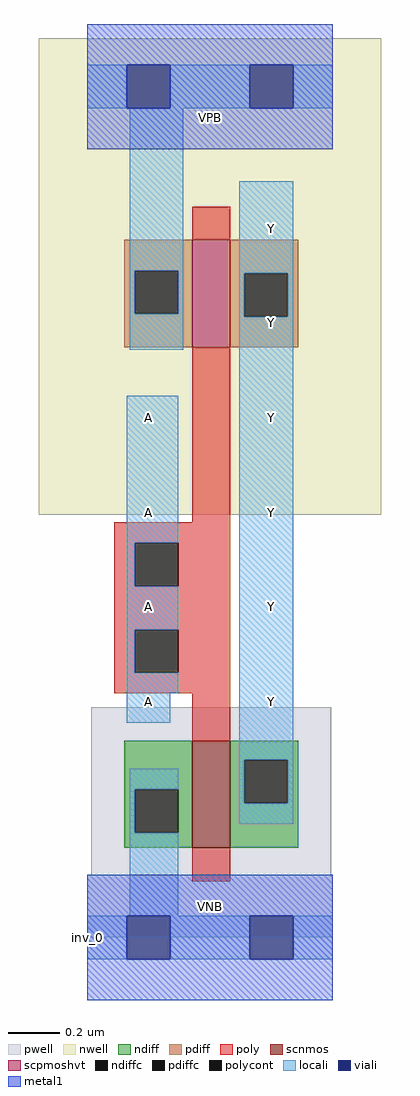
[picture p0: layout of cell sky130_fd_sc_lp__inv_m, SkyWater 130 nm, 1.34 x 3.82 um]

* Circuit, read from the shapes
.subckt sky130_fd_sc_lp__inv_m A VGND VNB VPB VPWR Y
XM1 Y A VGND VNB sky130_fd_pr__nfet_01v8 w=0.42 l=0.15
XM2 Y A VPWR VPB sky130_fd_pr__pfet_01v8_hvt w=0.42 l=0.15
.ends

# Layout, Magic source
magic
tech sky130A
magscale 1 2
<< nwell >>
rect -38 331 230 704
<< pwell >>
rect 3 49 191 180
rect 0 0 192 49
<< scnmos >>
rect 82 70 112 154
<< scpmoshvt >>
rect 82 462 112 546
<< ndiff >>
rect 29 116 82 154
rect 29 82 37 116
rect 71 82 82 116
rect 29 70 82 82
rect 112 139 165 154
rect 112 105 123 139
rect 157 105 165 139
rect 112 70 165 105
<< pdiff >>
rect 29 522 82 546
rect 29 488 37 522
rect 71 488 82 522
rect 29 462 82 488
rect 112 520 165 546
rect 112 486 123 520
rect 157 486 165 520
rect 112 462 165 486
<< ndiffc >>
rect 37 82 71 116
rect 123 105 157 139
<< pdiffc >>
rect 37 488 71 522
rect 123 486 157 520
<< poly >>
rect 82 546 112 572
rect 82 325 112 462
rect 21 309 112 325
rect 21 275 37 309
rect 71 275 112 309
rect 21 241 112 275
rect 21 207 37 241
rect 71 207 112 241
rect 21 191 112 207
rect 82 154 112 191
rect 82 44 112 70
<< polycont >>
rect 37 275 71 309
rect 37 207 71 241
<< locali >>
rect 0 649 31 683
rect 65 649 127 683
rect 161 649 192 683
rect 33 522 75 649
rect 33 488 37 522
rect 71 488 75 522
rect 33 460 75 488
rect 119 520 161 592
rect 119 486 123 520
rect 157 486 161 520
rect 31 309 71 424
rect 31 275 37 309
rect 31 241 71 275
rect 31 207 37 241
rect 31 191 71 207
rect 31 168 65 191
rect 119 139 161 486
rect 33 116 71 132
rect 33 82 37 116
rect 119 105 123 139
rect 157 105 161 139
rect 119 89 161 105
rect 33 17 71 82
rect 0 -17 31 17
rect 65 -17 127 17
rect 161 -17 192 17
<< viali >>
rect 31 649 65 683
rect 127 649 161 683
rect 31 -17 65 17
rect 127 -17 161 17
<< metal1 >>
rect 0 683 192 715
rect 0 649 31 683
rect 65 649 127 683
rect 161 649 192 683
rect 0 617 192 649
rect 0 17 192 49
rect 0 -17 31 17
rect 65 -17 127 17
rect 161 -17 192 17
rect 0 -49 192 -17
<< labels >>
flabel pwell s 0 0 192 49 0 FreeSans 200 0 0 0 VNB
port 3 nsew ground bidirectional
flabel nwell s 0 617 192 666 0 FreeSans 200 0 0 0 VPB
port 4 nsew power bidirectional
rlabel comment s 0 0 0 0 4 inv_0
flabel metal1 s 0 617 192 666 0 FreeSans 340 0 0 0 VPWR
port 5 nsew power bidirectional
flabel metal1 s 0 0 192 49 0 FreeSans 340 0 0 0 VGND
port 2 nsew ground bidirectional
flabel locali s 31 168 65 202 0 FreeSans 340 0 0 0 A
port 1 nsew signal input
flabel locali s 31 242 65 276 0 FreeSans 340 0 0 0 A
port 1 nsew signal input
flabel locali s 31 316 65 350 0 FreeSans 340 0 0 0 A
port 1 nsew signal input
flabel locali s 31 390 65 424 0 FreeSans 340 0 0 0 A
port 1 nsew signal input
flabel locali s 127 168 161 202 0 FreeSans 340 0 0 0 Y
port 6 nsew signal output
flabel locali s 127 242 161 276 0 FreeSans 340 0 0 0 Y
port 6 nsew signal output
flabel locali s 127 316 161 350 0 FreeSans 340 0 0 0 Y
port 6 nsew signal output
flabel locali s 127 390 161 424 0 FreeSans 340 0 0 0 Y
port 6 nsew signal output
flabel locali s 127 464 161 498 0 FreeSans 340 0 0 0 Y
port 6 nsew signal output
flabel locali s 127 538 161 572 0 FreeSans 340 0 0 0 Y
port 6 nsew signal output
<< properties >>
string LEFsite unit
string LEFclass CORE
string FIXED_BBOX 0 0 192 666
string GDS_FILE $PDKPATH/libs.ref/sky130_fd_sc_lp/gds/sky130_fd_sc_lp.gds
string LEFsymmetry X Y R90
string GDS_END 4479126
string GDS_START 4475486
<< end >>
